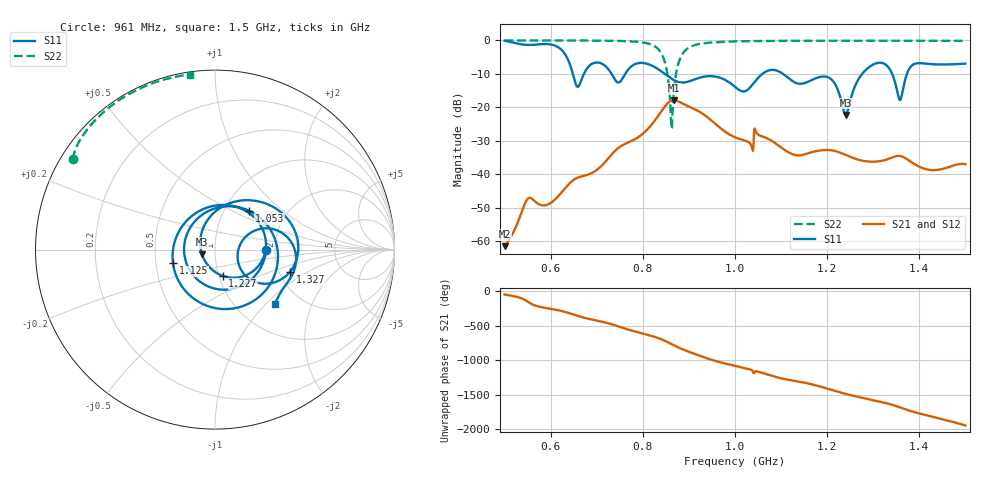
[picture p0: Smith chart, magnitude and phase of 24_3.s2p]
! TOUCHSTONE file generated by CST MICROWAVE STUDIO
! Date and time: Fri Dec 11 14:13:36 2020
! Project name: Scenario_1_Planar_Body_Tissue_Out_of_Line_v2.cst
! Parameters = {dy1=51.9; L_HA=400; Ltissue=700; MT=2.54; Rad_Dielectric=30; Rad_Lower=7.3; Rad_Upper=30; Wtissue=700; a_HA=580; a_WG=246; b_HA=500; b_WG=121; c_HA=0; c_WG=187; d_feed=85; dx1=520; h_feed=15; h_lower=18; h_upper=40; hfat=3; hgap=25; hmuscle=50; hskin=1.5}
! Header version: 2018
! Port assignment regex: !\s*Touchstone port\s*([0-9]+)\s*=\s*(CST MWS port|CST DS port)\s*([0-9]+|Zmin|Zmax)\s*\(\"(.*)\"\)(\s*mode\s*([0-9]+))?.*
! Touchstone port assignment:
! Touchstone port 1 = CST MWS port 1 ("")
! Touchstone port 2 = CST MWS port 2 ("")
# GHz S DB R 50
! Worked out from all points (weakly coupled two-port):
!   1003 points, 500 MHz to 1.5 GHz, reference 50 ohm
!   highest |S21| = -17.92 dB at 867 MHz (marker M1); lowest = -61.6 dB at 500 MHz (marker M2)
!   lowest |S11| = -22.3 dB at 1.24 GHz (marker M3), VSWR 1.17, Z = 43.2 - j2.2 ohm
!   |S11| at or under -10 dB: 847.6 MHz to 1.06 GHz (212 MHz wide, 22.2 % of centre); 1.104 GHz to 1.276 GHz (171.9 MHz wide, 14.4 % of centre); 1.341 GHz to 1.373 GHz (32.09 MHz wide, 2.36 % of centre)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
!   |S22| runs from -26.4 to 0.0 dB; largest |S21 - S12| = 0.0057
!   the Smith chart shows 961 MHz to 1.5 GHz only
!   S11 on the Smith chart (normalised r, x): 961 MHz: 1.80, -0.02; 1.053 GHz: 1.30, +0.62; 1.125 GHz: 0.61, -0.10; 1.227 GHz: 1.04, -0.31; 1.327 GHz: 2.28, -0.70; 1.5 GHz: 1.49, -1.13
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0.5  -0.08 -121.9  -61.55 -49.3  -61.55 -49.3  -0.01 151.2
0.629  -3.69 147.2  -44.58 63.0  -44.58 63.0  -0.03 141.8
0.667  -11.72 178.4  -40.68 -15.0  -40.68 -15.0  -0.04 138.5
0.716  -7.37 106.8  -36.70 -90.7  -36.70 -90.7  -0.08 133.0
0.742  -12.19 5.1  -32.74 -140.7  -32.74 -140.7  -0.13 129.2
0.787  -6.89 164.3  -29.22 128.3  -29.22 128.3  -0.40 118.9
0.834  -8.67 45.0  -22.41 38.7  -22.41 38.7  -2.70 89.0
0.867  -11.83 -56.3  -17.92 -64.2  -17.92 -64.2  -15.73 -130.3
0.89  -12.57 -141.2  -19.13 -133.5  -19.13 -133.5  -3.32 -178.3
0.961  -10.92 -1.0  -25.41 61.2  -25.41 61.2  -0.53 147.5
1  -13.88 -108.2  -28.97 -2.5  -28.97 -2.5  -0.28 140.9
1.053  -10.82 48.8  -28.40 -92.5  -28.40 -92.5  -0.17 134.5
1.094  -9.20 -69.0  -31.41 -173.5  -31.40 -173.5  -0.14 130.6
1.125  -12.18 -162.1  -34.06 143.0  -34.06 143.0  -0.11 127.8
1.167  -11.81 75.0  -33.39 88.0  -33.39 88.0  -0.10 124.5
1.227  -16.32 -73.6  -33.51 -26.2  -33.51 -26.1  -0.09 119.8
1.24  -22.28 -160.7  -34.25 -49.9  -34.25 -49.9  -0.09 118.8
1.327  -7.23 -16.6  -35.73 177.6  -35.73 177.6  -0.08 112.3
1.334  -8.23 -27.3  -35.41 165.7  -35.41 165.7  -0.08 111.7
1.358  -17.85 -7.6  -34.57 113.7  -34.57 113.7  -0.09 109.9
1.388  -7.12 1.4  -36.86 48.1  -36.86 48.1  -0.10 107.5
1.5  -6.94 -42.2  -37.02 -147.7  -37.02 -147.7  -0.13 98.2
